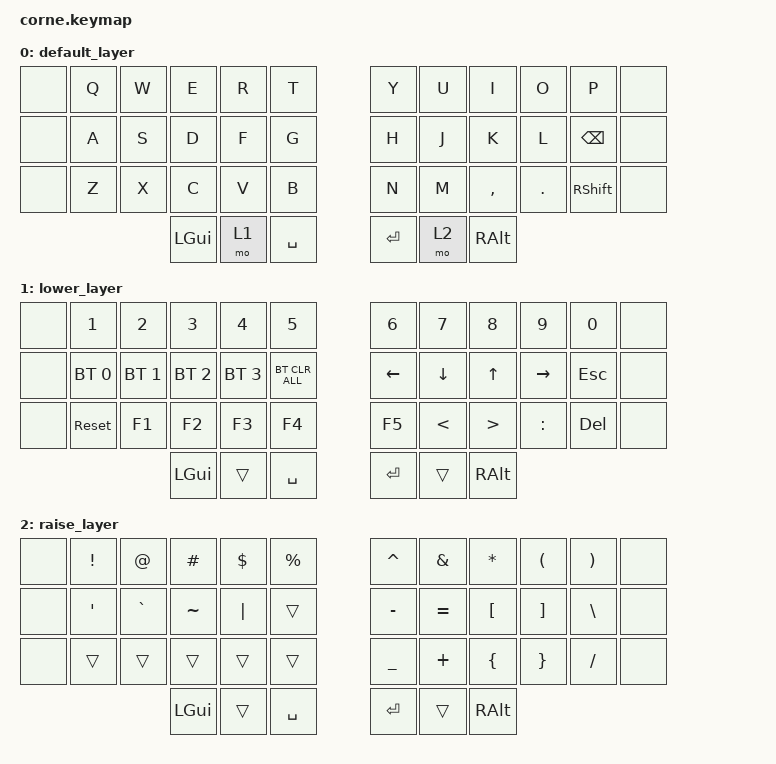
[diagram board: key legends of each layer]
/*
 * Copyright (c) 2020 The ZMK Contributors
 *
 * SPDX-License-Identifier: MIT
 */

#include <behaviors.dtsi>
#include <dt-bindings/zmk/bt.h>
#include <dt-bindings/zmk/keys.h>

/ {
    keymap {
        compatible = "zmk,keymap";

        default_layer {
            // -----------------------------------------------------------------------------------------
            // |  TAB |  Q  |  W  |  E  |  R  |  T  |   |  Y  |  U   |  I  |  O  |  P  | BSPC |
            // | CTRL |  A  |  S  |  D  |  F  |  G  |   |  H  |  J   |  K  |  L  |  ;  |  '   |
            // | SHFT |  Z  |  X  |  C  |  V  |  B  |   |  N  |  M   |  ,  |  .  |  /  | ESC  |
            //                    | GUI | LWR | SPC |   | ENT | RSE  | ALT |

            bindings = <
&none  &kp Q  &kp W  &kp E     &kp R  &kp T        &kp Y    &kp U  &kp I      &kp O    &kp P            &none
&none  &kp A  &kp S  &kp D     &kp F  &kp G        &kp H    &kp J  &kp K      &kp L    &kp BACKSPACE    &none
&none  &kp Z  &kp X  &kp C     &kp V  &kp B        &kp N    &kp M  &kp COMMA  &kp DOT  &kp RIGHT_SHIFT  &none
                     &kp LGUI  &mo 1  &kp SPACE    &kp RET  &mo 2  &kp RALT
            >;
        };

        lower_layer {
            // -----------------------------------------------------------------------------------------
            // |  TAB |  1  |  2  |  3  |  4  |  5  |   |  6  |  7  |  8  |  9  |  0  | BSPC |
            // | BTCLR| BT1 | BT2 | BT3 | BT4 | BT5 |   | LFT | DWN |  UP | RGT |     |      |
            // | SHFT |     |     |     |     |     |   |     |     |     |     |     |      |
            //                    | GUI |     | SPC |   | ENT |     | ALT |

            bindings = <
&none  &kp N1        &kp N2        &kp N3        &kp N4        &kp N5            &kp N6    &kp N7         &kp N8            &kp N9     &kp N0   &none
&none  &bt BT_SEL 0  &bt BT_SEL 1  &bt BT_SEL 2  &bt BT_SEL 3  &bt BT_CLR_ALL    &kp LEFT  &kp DOWN       &kp UP            &kp RIGHT  &kp ESC  &none
&none  &sys_reset    &kp F1        &kp F2        &kp F3        &kp F4            &kp F5    &kp LESS_THAN  &kp GREATER_THAN  &kp COLON  &kp DEL  &none
                                   &kp LGUI      &trans        &kp SPACE         &kp RET   &trans         &kp RALT
            >;
        };

        raise_layer {
            // -----------------------------------------------------------------------------------------
            // |  TAB |  !  |  @  |  #  |  $  |  %  |   |  ^  |  &  |  *  |  (  |  )  | BSPC |
            // | CTRL |     |     |     |     |     |   |  -  |  =  |  [  |  ]  |  \  |  `   |
            // | SHFT |     |     |     |     |     |   |  _  |  +  |  {  |  }  | "|" |  ~   |
            //                    | GUI |     | SPC |   | ENT |     | ALT |

            bindings = <
&none  &kp EXCL  &kp AT     &kp HASH   &kp DLLR  &kp PRCNT    &kp CARET  &kp AMPS   &kp ASTRK  &kp LPAR  &kp RPAR   &none
&none  &kp SQT   &kp GRAVE  &kp TILDE  &kp PIPE  &trans       &kp MINUS  &kp EQUAL  &kp LBKT   &kp RBKT  &kp BSLH   &none
&none  &trans    &trans     &trans     &trans    &trans       &kp UNDER  &kp PLUS   &kp LBRC   &kp RBRC  &kp SLASH  &none
                            &kp LGUI   &trans    &kp SPACE    &kp RET    &trans     &kp RALT
            >;
        };
    };
};
